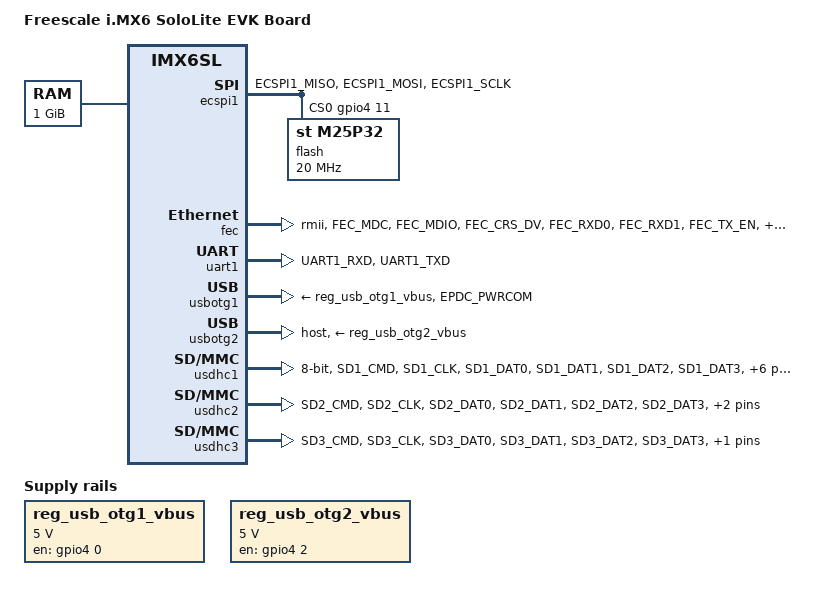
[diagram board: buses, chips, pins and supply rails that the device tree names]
/*
 * Copyright (C) 2013 Freescale Semiconductor, Inc.
 *
 * This program is free software; you can redistribute it and/or modify
 * it under the terms of the GNU General Public License version 2 as
 * published by the Free Software Foundation.
 */

/dts-v1/;

#include "imx6sl.dtsi"

/ {
	model = "Freescale i.MX6 SoloLite EVK Board";
	compatible = "fsl,imx6sl-evk", "fsl,imx6sl";

	memory {
		reg = <0x80000000 0x40000000>;
	};

	regulators {
		compatible = "simple-bus";
		#address-cells = <1>;
		#size-cells = <0>;

		reg_usb_otg1_vbus: regulator@0 {
			compatible = "regulator-fixed";
			reg = <0>;
			regulator-name = "usb_otg1_vbus";
			regulator-min-microvolt = <5000000>;
			regulator-max-microvolt = <5000000>;
			gpio = <&gpio4 0 0>;
			enable-active-high;
		};

		reg_usb_otg2_vbus: regulator@1 {
			compatible = "regulator-fixed";
			reg = <1>;
			regulator-name = "usb_otg2_vbus";
			regulator-min-microvolt = <5000000>;
			regulator-max-microvolt = <5000000>;
			gpio = <&gpio4 2 0>;
			enable-active-high;
		};
	};
};

&ecspi1 {
	fsl,spi-num-chipselects = <1>;
	cs-gpios = <&gpio4 11 0>;
	pinctrl-names = "default";
	pinctrl-0 = <&pinctrl_ecspi1>;
	status = "okay";

	flash: m25p80@0 {
		#address-cells = <1>;
		#size-cells = <1>;
		compatible = "st,m25p32";
		spi-max-frequency = <20000000>;
		reg = <0>;
	};
};

&fec {
	pinctrl-names = "default";
	pinctrl-0 = <&pinctrl_fec>;
	phy-mode = "rmii";
	status = "okay";
};

&iomuxc {
	pinctrl-names = "default";
	pinctrl-0 = <&pinctrl_hog>;

	imx6sl-evk {
		pinctrl_hog: hoggrp {
			fsl,pins = <
				MX6SL_PAD_KEY_ROW7__GPIO4_IO07    0x17059
				MX6SL_PAD_KEY_COL7__GPIO4_IO06    0x17059
				MX6SL_PAD_SD2_DAT7__GPIO5_IO00    0x17059
				MX6SL_PAD_SD2_DAT6__GPIO4_IO29    0x17059
				MX6SL_PAD_REF_CLK_32K__GPIO3_IO22 0x17059
				MX6SL_PAD_KEY_COL4__GPIO4_IO00	0x80000000
				MX6SL_PAD_KEY_COL5__GPIO4_IO02	0x80000000
			>;
		};

		pinctrl_ecspi1: ecspi1grp {
			fsl,pins = <
				MX6SL_PAD_ECSPI1_MISO__ECSPI1_MISO	0x100b1
				MX6SL_PAD_ECSPI1_MOSI__ECSPI1_MOSI	0x100b1
				MX6SL_PAD_ECSPI1_SCLK__ECSPI1_SCLK	0x100b1
			>;
		};

		pinctrl_fec: fecgrp {
			fsl,pins = <
				MX6SL_PAD_FEC_MDC__FEC_MDC		0x1b0b0
				MX6SL_PAD_FEC_MDIO__FEC_MDIO		0x1b0b0
				MX6SL_PAD_FEC_CRS_DV__FEC_RX_DV		0x1b0b0
				MX6SL_PAD_FEC_RXD0__FEC_RX_DATA0	0x1b0b0
				MX6SL_PAD_FEC_RXD1__FEC_RX_DATA1	0x1b0b0
				MX6SL_PAD_FEC_TX_EN__FEC_TX_EN		0x1b0b0
				MX6SL_PAD_FEC_TXD0__FEC_TX_DATA0	0x1b0b0
				MX6SL_PAD_FEC_TXD1__FEC_TX_DATA1	0x1b0b0
				MX6SL_PAD_FEC_REF_CLK__FEC_REF_OUT	0x4001b0a8
			>;
		};

		pinctrl_uart1: uart1grp {
			fsl,pins = <
				MX6SL_PAD_UART1_RXD__UART1_RX_DATA	0x1b0b1
				MX6SL_PAD_UART1_TXD__UART1_TX_DATA	0x1b0b1
			>;
		};

		pinctrl_usbotg1: usbotg1grp {
			fsl,pins = <
				MX6SL_PAD_EPDC_PWRCOM__USB_OTG1_ID	0x17059
			>;
		};

		pinctrl_usdhc1: usdhc1grp {
			fsl,pins = <
				MX6SL_PAD_SD1_CMD__SD1_CMD		0x17059
				MX6SL_PAD_SD1_CLK__SD1_CLK		0x10059
				MX6SL_PAD_SD1_DAT0__SD1_DATA0		0x17059
				MX6SL_PAD_SD1_DAT1__SD1_DATA1		0x17059
				MX6SL_PAD_SD1_DAT2__SD1_DATA2		0x17059
				MX6SL_PAD_SD1_DAT3__SD1_DATA3		0x17059
				MX6SL_PAD_SD1_DAT4__SD1_DATA4		0x17059
				MX6SL_PAD_SD1_DAT5__SD1_DATA5		0x17059
				MX6SL_PAD_SD1_DAT6__SD1_DATA6		0x17059
				MX6SL_PAD_SD1_DAT7__SD1_DATA7		0x17059
			>;
		};

		pinctrl_usdhc1_100mhz: usdhc1grp100mhz {
			fsl,pins = <
				MX6SL_PAD_SD1_CMD__SD1_CMD		0x170b9
				MX6SL_PAD_SD1_CLK__SD1_CLK		0x100b9
				MX6SL_PAD_SD1_DAT0__SD1_DATA0		0x170b9
				MX6SL_PAD_SD1_DAT1__SD1_DATA1		0x170b9
				MX6SL_PAD_SD1_DAT2__SD1_DATA2		0x170b9
				MX6SL_PAD_SD1_DAT3__SD1_DATA3		0x170b9
				MX6SL_PAD_SD1_DAT4__SD1_DATA4		0x170b9
				MX6SL_PAD_SD1_DAT5__SD1_DATA5		0x170b9
				MX6SL_PAD_SD1_DAT6__SD1_DATA6		0x170b9
				MX6SL_PAD_SD1_DAT7__SD1_DATA7		0x170b9
			>;
		};

		pinctrl_usdhc1_200mhz: usdhc1grp200mhz {
			fsl,pins = <
				MX6SL_PAD_SD1_CMD__SD1_CMD		0x170f9
				MX6SL_PAD_SD1_CLK__SD1_CLK		0x100f9
				MX6SL_PAD_SD1_DAT0__SD1_DATA0		0x170f9
				MX6SL_PAD_SD1_DAT1__SD1_DATA1		0x170f9
				MX6SL_PAD_SD1_DAT2__SD1_DATA2		0x170f9
				MX6SL_PAD_SD1_DAT3__SD1_DATA3		0x170f9
				MX6SL_PAD_SD1_DAT4__SD1_DATA4		0x170f9
				MX6SL_PAD_SD1_DAT5__SD1_DATA5		0x170f9
				MX6SL_PAD_SD1_DAT6__SD1_DATA6		0x170f9
				MX6SL_PAD_SD1_DAT7__SD1_DATA7		0x170f9
			>;
		};

		pinctrl_usdhc2: usdhc2grp {
			fsl,pins = <
				MX6SL_PAD_SD2_CMD__SD2_CMD		0x17059
				MX6SL_PAD_SD2_CLK__SD2_CLK		0x10059
				MX6SL_PAD_SD2_DAT0__SD2_DATA0		0x17059
				MX6SL_PAD_SD2_DAT1__SD2_DATA1		0x17059
				MX6SL_PAD_SD2_DAT2__SD2_DATA2		0x17059
				MX6SL_PAD_SD2_DAT3__SD2_DATA3		0x17059
			>;
		};

		pinctrl_usdhc2_100mhz: usdhc2grp100mhz {
			fsl,pins = <
				MX6SL_PAD_SD2_CMD__SD2_CMD		0x170b9
				MX6SL_PAD_SD2_CLK__SD2_CLK		0x100b9
				MX6SL_PAD_SD2_DAT0__SD2_DATA0		0x170b9
				MX6SL_PAD_SD2_DAT1__SD2_DATA1		0x170b9
				MX6SL_PAD_SD2_DAT2__SD2_DATA2		0x170b9
				MX6SL_PAD_SD2_DAT3__SD2_DATA3		0x170b9
			>;
		};

		pinctrl_usdhc2_200mhz: usdhc2grp200mhz {
			fsl,pins = <
				MX6SL_PAD_SD2_CMD__SD2_CMD		0x170f9
				MX6SL_PAD_SD2_CLK__SD2_CLK		0x100f9
				MX6SL_PAD_SD2_DAT0__SD2_DATA0		0x170f9
				MX6SL_PAD_SD2_DAT1__SD2_DATA1		0x170f9
				MX6SL_PAD_SD2_DAT2__SD2_DATA2		0x170f9
				MX6SL_PAD_SD2_DAT3__SD2_DATA3		0x170f9
			>;
		};

		pinctrl_usdhc3: usdhc3grp {
			fsl,pins = <
				MX6SL_PAD_SD3_CMD__SD3_CMD		0x17059
				MX6SL_PAD_SD3_CLK__SD3_CLK		0x10059
				MX6SL_PAD_SD3_DAT0__SD3_DATA0		0x17059
				MX6SL_PAD_SD3_DAT1__SD3_DATA1		0x17059
				MX6SL_PAD_SD3_DAT2__SD3_DATA2		0x17059
				MX6SL_PAD_SD3_DAT3__SD3_DATA3		0x17059
			>;
		};

		pinctrl_usdhc3_100mhz: usdhc3grp100mhz {
			fsl,pins = <
				MX6SL_PAD_SD3_CMD__SD3_CMD		0x170b9
				MX6SL_PAD_SD3_CLK__SD3_CLK		0x100b9
				MX6SL_PAD_SD3_DAT0__SD3_DATA0		0x170b9
				MX6SL_PAD_SD3_DAT1__SD3_DATA1		0x170b9
				MX6SL_PAD_SD3_DAT2__SD3_DATA2		0x170b9
				MX6SL_PAD_SD3_DAT3__SD3_DATA3		0x170b9
			>;
		};

		pinctrl_usdhc3_200mhz: usdhc3grp200mhz {
			fsl,pins = <
				MX6SL_PAD_SD3_CMD__SD3_CMD		0x170f9
				MX6SL_PAD_SD3_CLK__SD3_CLK		0x100f9
				MX6SL_PAD_SD3_DAT0__SD3_DATA0		0x170f9
				MX6SL_PAD_SD3_DAT1__SD3_DATA1		0x170f9
				MX6SL_PAD_SD3_DAT2__SD3_DATA2		0x170f9
				MX6SL_PAD_SD3_DAT3__SD3_DATA3		0x170f9
			>;
		};
	};
};

&uart1 {
	pinctrl-names = "default";
	pinctrl-0 = <&pinctrl_uart1>;
	status = "okay";
};

&usbotg1 {
	vbus-supply = <&reg_usb_otg1_vbus>;
	pinctrl-names = "default";
	pinctrl-0 = <&pinctrl_usbotg1>;
	disable-over-current;
	status = "okay";
};

&usbotg2 {
	vbus-supply = <&reg_usb_otg2_vbus>;
	dr_mode = "host";
	disable-over-current;
	status = "okay";
};

&usdhc1 {
	pinctrl-names = "default", "state_100mhz", "state_200mhz";
	pinctrl-0 = <&pinctrl_usdhc1>;
	pinctrl-1 = <&pinctrl_usdhc1_100mhz>;
	pinctrl-2 = <&pinctrl_usdhc1_200mhz>;
	bus-width = <8>;
	cd-gpios = <&gpio4 7 0>;
	wp-gpios = <&gpio4 6 0>;
	status = "okay";
};

&usdhc2 {
	pinctrl-names = "default", "state_100mhz", "state_200mhz";
	pinctrl-0 = <&pinctrl_usdhc2>;
	pinctrl-1 = <&pinctrl_usdhc2_100mhz>;
	pinctrl-2 = <&pinctrl_usdhc2_200mhz>;
	cd-gpios = <&gpio5 0 0>;
	wp-gpios = <&gpio4 29 0>;
	status = "okay";
};

&usdhc3 {
	pinctrl-names = "default", "state_100mhz", "state_200mhz";
	pinctrl-0 = <&pinctrl_usdhc3>;
	pinctrl-1 = <&pinctrl_usdhc3_100mhz>;
	pinctrl-2 = <&pinctrl_usdhc3_200mhz>;
	cd-gpios = <&gpio3 22 0>;
	status = "okay";
};
